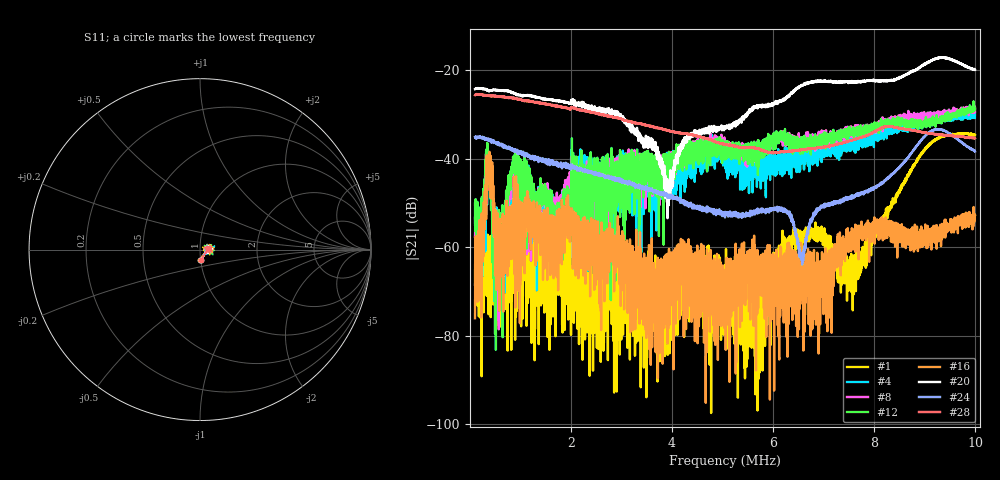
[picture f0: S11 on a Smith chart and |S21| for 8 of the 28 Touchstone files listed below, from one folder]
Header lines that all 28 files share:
! Anritsu VNA Master:  Model: MS2026C/19
! SN:  1815009
! Existing Calibration Information:
! TYPE:  Current Settings,  Active Cal Settings
! # POINTS:  4001,  4001
! START FREQ:  100.000 kHz,  100.000 kHz
! STOP FREQ:  10.000 MHz,  10.000 MHz
! SOURCE POWER:  Low,  Low
! IFBW:  500 Hz,  500 Hz
! REF PLANE 1:  0 mm,  0 mm
! REF PLANE 2:  0 mm,  0 mm
! CAL TYPE:  1P2P S11,S21,  1P2P S11,S21
! CAL METHOD:  SOLT,  SOLT
! CAL LINE TYPE:  Coax,  Coax
! DUT PORT 1:  N-Conn(M),  N-Conn(M)
! DUT PORT 2:  N-Conn(M),  N-Conn(M)
# GHZ S RI R 50.0
! FREQ.GHZ  S11RE  S11IM  S21RE  S21IM  S12RE  S12IM  S22RE  S22IM
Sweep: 100 kHz to 10 MHz
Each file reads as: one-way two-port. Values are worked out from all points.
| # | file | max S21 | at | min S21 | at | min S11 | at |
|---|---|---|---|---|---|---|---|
| 1 | 20180209_37.s2p | -34.22 dB | 9.819 MHz | -97.4 dB | 4.775 MHz | -33.9 dB | 2.065 MHz |
| 2 | 20180902_1.s2p | -28.46 dB | 9.973 MHz | -84.2 dB | 577.7 kHz | -34.8 dB | 2.258 MHz |
| 3 | 20180902_3.s2p | -29.32 dB | 9.911 MHz | -78.2 dB | 634.6 kHz | -50.3 dB | 2.095 MHz |
| 4 | 20180902_5.s2p | -29.25 dB | 9.876 MHz | -75.2 dB | 555.4 kHz | -31.0 dB | 2.065 MHz |
| 5 | 20180902_7.s2p | -28.47 dB | 9.874 MHz | -84.6 dB | 476.2 kHz | -34.4 dB | 2.063 MHz |
| 6 | 20180902_9.s2p | -27.27 dB | 9.965 MHz | -82.3 dB | 592.5 kHz | -30.1 dB | 2.043 MHz |
| 7 | 20180902_10.s2p | -13.62 dB | 184.2 kHz | -30.7 dB | 7.337 MHz | -30.7 dB | 2.095 MHz |
| 8 | 20180902_11.s2p | -28.05 dB | 9.96 MHz | -78.5 dB | 570.2 kHz | -29.6 dB | 236.1 kHz |
| 9 | 20180902_12.s2p | -16.17 dB | 152 kHz | -33.7 dB | 7.183 MHz | -29.9 dB | 2.095 MHz |
| 10 | 20180902_13.s2p | -27.73 dB | 9.965 MHz | -76.8 dB | 493.5 kHz | -31.1 dB | 2.001 MHz |
| 11 | 20180902_14.s2p | -18.64 dB | 179.2 kHz | -37.2 dB | 7.134 MHz | -30.2 dB | 2.095 MHz |
| 12 | 20180902_15.s2p | -26.99 dB | 9.973 MHz | -83.2 dB | 513.3 kHz | -31.2 dB | 2.226 MHz |
| 13 | 20180902_16.s2p | -20.58 dB | 169.3 kHz | -43.2 dB | 6.83 MHz | -28.9 dB | 2.612 MHz |
| 14 | 20180902_17.s2p | -28.36 dB | 9.96 MHz | -78.2 dB | 570.2 kHz | -29.8 dB | 2.159 MHz |
| 15 | 20180902_18.s2p | -41.39 dB | 414.3 kHz | -65.3 dB | 6.929 MHz | -31.0 dB | 2.095 MHz |
| 16 | 20180902_19.s2p | -38.41 dB | 387.1 kHz | -95.1 dB | 4.669 MHz | -31.9 dB | 2.181 MHz |
| 17 | 20180902_21.s2p | -32.98 dB | 9.891 MHz | -78.0 dB | 528.2 kHz | -34.4 dB | 2.162 MHz |
| 18 | 20180902_23.s2p | -24.39 dB | 9.859 MHz | -80.9 dB | 582.6 kHz | -35.7 dB | 2.073 MHz |
| 19 | 20180902_25.s2p | -16.29 dB | 9.366 MHz | -78.6 dB | 1.845 MHz | -33.6 dB | 2.018 MHz |
| 20 | 20180902_26.s2p | -17.03 dB | 9.366 MHz | -53.4 dB | 3.912 MHz | -31.0 dB | 2.095 MHz |
| 21 | 20180902_27.s2p | -22.93 dB | 253.4 kHz | -33.1 dB | 6.679 MHz | -30.0 dB | 2.095 MHz |
| 22 | 20180902_28.s2p | -24.04 dB | 8.03 MHz | -37.2 dB | 4.008 MHz | -29.6 dB | 2.612 MHz |
| 23 | 20180902_29.s2p | -25.58 dB | 8.052 MHz | -77.4 dB | 1.486 MHz | -31.2 dB | 2.241 MHz |
| 24 | 20180902_40.s2p | -33.27 dB | 9.292 MHz | -63.9 dB | 6.577 MHz | -31.8 dB | 2.073 MHz |
| 25 | 20180902_41.s2p | -33.84 dB | 9.277 MHz | -108.8 dB | 2.926 MHz | -43.8 dB | 2.065 MHz |
| 26 | 20180902_42.s2p | -24.68 dB | 238.6 kHz | -78.8 dB | 6.592 MHz | -30.8 dB | 2.612 MHz |
| 27 | 20180902_43.s2p | -36.81 dB | 9.245 MHz | -98.3 dB | 3.355 MHz | -34.8 dB | 2.073 MHz |
| 28 | 20180902_45.s2p | -25.34 dB | 134.7 kHz | -38.7 dB | 5.966 MHz | -30.7 dB | 2.095 MHz |
